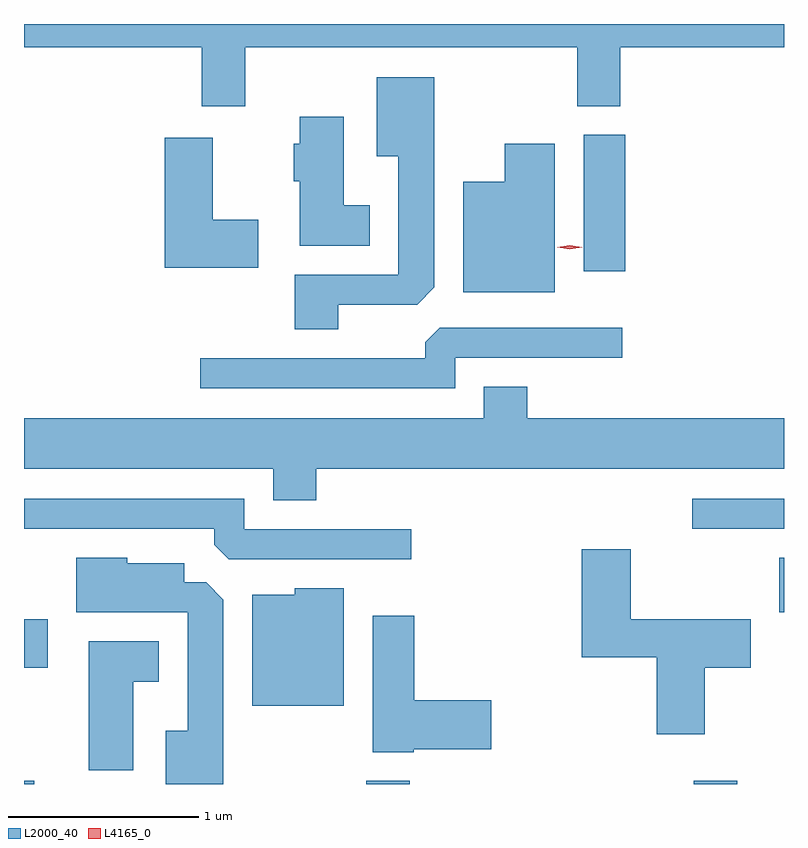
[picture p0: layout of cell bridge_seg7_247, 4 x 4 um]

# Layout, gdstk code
import gdstk
lib = gdstk.Library(unit=1e-6, precision=1e-09)
def R(c, l, rs):  # rectangles x0, y0, x1, y1
    for r in rs: c.add(gdstk.rectangle(r[:2], r[2:], *l))
def P(c, l, *ps):  # polygons
    for p in ps: c.add(gdstk.Polygon(p, *l))
L2000_40 = (2000, 40)
L4165_0 = (4165, 0)

bridge_seg7_247 = lib.new_cell('bridge_seg7_247')
R(bridge_seg7_247, L2000_40, [(1804.44,1692.678,1804.494,1692.694), (1806.241,1692.678,1806.469,1692.694), (1807.966,1692.678,1808.194,1692.694), (1804.44,1693.291,1804.564,1693.544), (1808.416,1693.581,1808.44,1693.869), (1807.958,1694.021,1808.44,1694.179), (1807.386,1695.376,1807.604,1696.094)])
P(bridge_seg7_247, L2000_40, [(1805.604,1696.556),(1807.351,1696.556),(1807.351,1696.246),(1807.579,1696.246),(1807.579,1696.556),(1808.44,1696.556),(1808.44,1696.678),(1804.44,1696.678),(1804.44,1696.556),(1805.376,1696.556),(1805.376,1696.246),(1805.604,1696.246)],
  [(1806.094,1695.201),(1806.509,1695.201),(1806.599,1695.292),(1806.599,1696.399),(1806.296,1696.399),(1806.296,1695.981),(1806.411,1695.981),(1806.411,1695.359),(1805.866,1695.359),(1805.866,1695.071),(1806.094,1695.071)],
  [(1806.259,1695.724),(1806.124,1695.724),(1806.124,1696.189),(1805.891,1696.189),(1805.891,1696.049),(1805.861,1696.049),(1805.861,1695.851),(1805.891,1695.851),(1805.891,1695.511),(1806.259,1695.511)],
  [(1805.674,1695.649),(1805.434,1695.649),(1805.434,1696.079),(1805.181,1696.079),(1805.181,1695.396),(1805.674,1695.396)],
  [(1807.234,1696.049),(1806.971,1696.049),(1806.971,1695.849),(1806.751,1695.849),(1806.751,1695.266),(1807.234,1695.266)],
  [(1806.709,1694.921),(1807.588,1694.921),(1807.588,1695.079),(1806.627,1695.079),(1806.551,1695.004),(1806.551,1694.919),(1805.368,1694.919),(1805.368,1694.761),(1806.709,1694.761)],
  [(1804.44,1694.336),(1805.751,1694.336),(1805.751,1694.171),(1805.979,1694.171),(1805.979,1694.336),(1808.44,1694.336),(1808.44,1694.604),(1807.089,1694.604),(1807.089,1694.769),(1806.861,1694.769),(1806.861,1694.604),(1804.44,1694.604)],
  [(1806.478,1694.019),(1805.599,1694.019),(1805.599,1694.179),(1804.44,1694.179),(1804.44,1694.021),(1805.441,1694.021),(1805.441,1693.937),(1805.517,1693.861),(1806.478,1693.861)],
  [(1808.024,1693.291),(1808.264,1693.291),(1808.264,1693.544),(1807.634,1693.544),(1807.634,1693.914),(1807.376,1693.914),(1807.376,1693.346),(1807.771,1693.346),(1807.771,1692.941),(1808.024,1692.941)],
  [(1805.489,1693.649),(1805.399,1693.739),(1805.284,1693.739),(1805.284,1693.839),(1804.984,1693.839),(1804.984,1693.869),(1804.716,1693.869),(1804.716,1693.581),(1805.301,1693.581),(1805.301,1692.959),(1805.186,1692.959),(1805.186,1692.678),(1805.489,1692.678)],
  [(1806.124,1693.709),(1805.866,1693.709),(1805.866,1693.674),(1805.641,1693.674),(1805.641,1693.091),(1806.124,1693.091)],
  [(1806.49,1692.861),(1806.899,1692.861),(1806.899,1693.119),(1806.494,1693.119),(1806.494,1693.564),(1806.276,1693.564),(1806.276,1692.846),(1806.49,1692.846)],
  [(1805.014,1693.216),(1805.149,1693.216),(1805.149,1693.429),(1804.781,1693.429),(1804.781,1692.751),(1805.014,1692.751)])
P(bridge_seg7_247, L4165_0, [(1807.312,1695.493),(1807.246,1695.502),(1807.246,1695.503),(1807.246,1695.503),(1807.312,1695.513),(1807.378,1695.504),(1807.378,1695.504),(1807.378,1695.503)])

lib.write_gds('bridge_seg7_247.gds')
